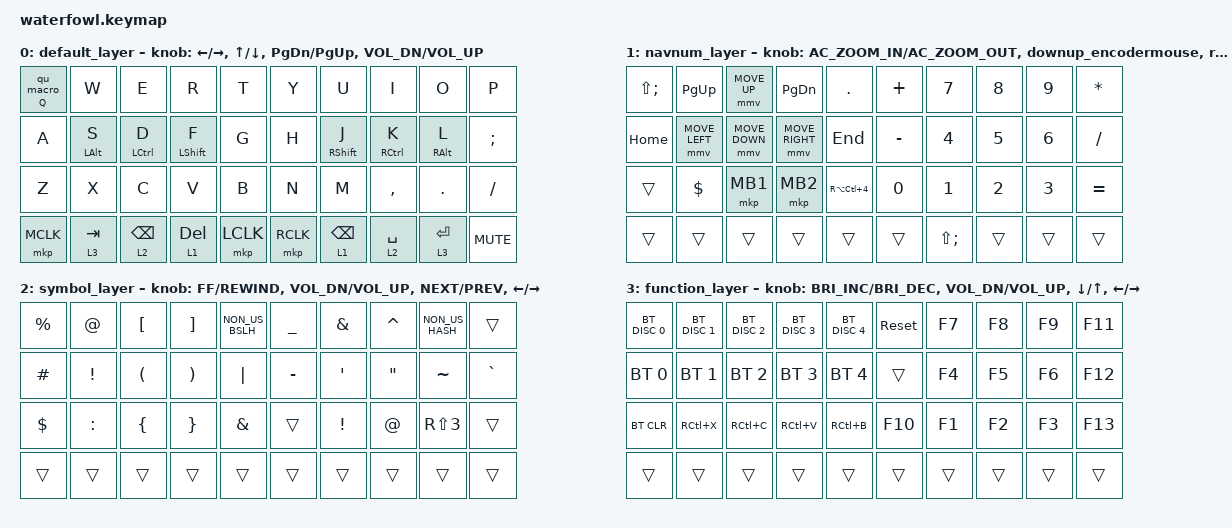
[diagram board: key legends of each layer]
/*
 * Copyright (c) 2022 The ZMK Contributors
 *
 * SPDX-License-Identifier: MIT
 */

#include <dt-bindings/zmk/mouse.h>
#include <behaviors.dtsi>
#include <dt-bindings/zmk/bt.h>
#include <dt-bindings/zmk/keys.h>
#include <dt-bindings/zmk/outputs.h>
#include <dt-bindings/zmk/pointing.h>

/ {
    behaviors {
        td_shift_caps: td_shift_caps {
            compatible = "zmk,behavior-tap-dance";
            label = "td_shift_caps";
            #binding-cells = <0>;
            bindings = <&kp RIGHT_SHIFT>, <&caps_word>;
        };

        better_cap_word: better_cap_word {
            compatible = "zmk,behavior-caps-word";
            label = "BETTER_CAP_WORD";
            #binding-cells = <0>;
            continue-list = <A B C D E F G H I J K L M N O P Q R S T U V W X Y Z KP_MINUS MINUS BACKSPACE DELETE LEFT_ARROW RIGHT_ARROW UP_ARROW DOWN_ARROW C_VOLUME_UP C_VOLUME_DOWN C_MUTE C_PREVIOUS C_NEXT C_PLAY_PAUSE>;
            mods = <(MOD_LSFT)>;
        };

        sticky_mod: sticky_mod {
            compatible = "zmk,behavior-sticky-key";
            label = "STICKY_MOD";
            bindings = <&kp>;
            #binding-cells = <1>;
            quick-release;
            release-after-ms = <1000>;
        };

        stickier_layer: stickier_layer {
            compatible = "zmk,behavior-sticky-key";
            label = "STICKIER_LAYER";
            bindings = <&mo>;
            #binding-cells = <1>;
            release-after-ms = <3000>;
            quick-release;
        };

        out_tg_or_usb: out_tg_or_usb {
            compatible = "zmk,behavior-mod-morph";
            label = "OUT_TG_OR_USB";
            bindings = <&out OUT_TOG>, <&out OUT_USB>;

            #binding-cells = <0>;
            mods = <(MOD_RSFT|MOD_LSFT)>;
        };

        bt_0_sel_or_unsel: bt_0_sel_or_unsel {
            compatible = "zmk,behavior-mod-morph";
            label = "BT_0_SEL_OR_UNSEL";
            bindings = <&bt BT_SEL 0>, <&shift_clear_bt0>;

            #binding-cells = <0>;
            mods = <(MOD_RSFT|MOD_LSFT)>;
        };

        bt_1_sel_or_unsel: bt_1_sel_or_unsel {
            compatible = "zmk,behavior-mod-morph";
            label = "BT_1_SEL_OR_UNSEL";
            bindings = <&bt BT_SEL 1>, <&shift_clear_bt1>;

            #binding-cells = <0>;
            mods = <(MOD_RSFT|MOD_LSFT)>;
        };

        bt_2_sel_or_unsel: bt_2_sel_or_unsel {
            compatible = "zmk,behavior-mod-morph";
            label = "BT_2_SEL_OR_UNSEL";
            bindings = <&bt BT_SEL 2>, <&shift_clear_bt2>;

            #binding-cells = <0>;
            mods = <(MOD_RSFT|MOD_LSFT)>;
        };

        bt_3_sel_or_unsel: bt_3_sel_or_unsel {
            compatible = "zmk,behavior-mod-morph";
            label = "BT_3_SEL_OR_UNSEL";
            bindings = <&bt BT_SEL 3>, <&shift_clear_bt3>;

            #binding-cells = <0>;
            mods = <(MOD_RSFT|MOD_LSFT)>;
        };

        bt_4_sel_or_unsel: bt_4_sel_or_unsel {
            compatible = "zmk,behavior-mod-morph";
            label = "BT_4_SEL_OR_UNSEL";
            bindings = <&bt BT_SEL 4>, <&shift_clear_bt4>;

            #binding-cells = <0>;
            mods = <(MOD_RSFT|MOD_LSFT)>;
        };

        auto_shift_num_row: auto_shift_num_row {
            compatible = "zmk,behavior-hold-tap";
            label = "AUTO_SHIFT_NUM_ROW";
            bindings = <&kp>, <&kp>;

            #binding-cells = <2>;
            flavor = "tap-preferred";
            tapping-term-ms = <500>;
            require-prior-idle-ms = <150>;
            quick-tap-ms = <100>;
        };

        home_row_mods_lh: home_row_mods_lh {
            compatible = "zmk,behavior-hold-tap";
            label = "HOME_ROW_MODS_LH";
            bindings = <&kp>, <&kp>;

            #binding-cells = <2>;
            tapping-term-ms = <275>;
            quick-tap-ms = <100>;
            flavor = "balanced";
            hold-trigger-key-positions = <6 18 43 55 44 7 19 45 57 59 46 58 47 8 9 48 49 35 56 5 6 7 8 9 15 16 17 18 19 25 26 27 28 29 37 38 39 36>;
            require-prior-idle-ms = <200>;
        };

        home_row_mods_rh: home_row_mods_rh {
            compatible = "zmk,behavior-hold-tap";
            label = "HOME_ROW_MODS_RH";
            bindings = <&kp>, <&kp>;

            #binding-cells = <2>;
            tapping-term-ms = <275>;
            quick-tap-ms = <100>;
            flavor = "balanced";
            hold-trigger-key-positions = <0 12 24 13 1 2 14 50 3 4 42 41 40 51 52 54 53 0 1 2 3 4 10 11 12 13 14 20 21 22 23 24 30 31 32 33 34>;
            require-prior-idle-ms = <200>;
        };

        thumb_cluster_lh: thumb_cluster_lh {
            compatible = "zmk,behavior-hold-tap";
            label = "THUMB_CLUSTER_LH";
            bindings = <&mo>, <&kp>;

            #binding-cells = <2>;
            tapping-term-ms = <275>;
            quick-tap-ms = <100>;
            flavor = "balanced";
            hold-trigger-key-positions = <55 43 56 44 30 18 6 7 19 31 57 45 58 46 32 20 8 9 21 33 47 59 48 34 22 10 11 23 35 49>;
        };

        thumb_cluster_rh: thumb_cluster_rh {
            compatible = "zmk,behavior-hold-tap";
            label = "THUMB_CLUSTER_RH";
            bindings = <&mo>, <&kp>;

            #binding-cells = <2>;
            tapping-term-ms = <275>;
            quick-tap-ms = <100>;
            flavor = "balanced";
            hold-trigger-key-positions = <36 54 0 12 24 37 25 13 1 3 2 14 26 38 50 51 39 27 15 28 16 4 40 52 53 41 29 17 5 42 49 35 23 59 58>;
        };

        thumb_cluster_nav: thumb_cluster_nav {
            compatible = "zmk,behavior-hold-tap";
            label = "THUMB_CLUSTER_NAV";
            bindings = <&mo>, <&kp>;

            #binding-cells = <2>;
            tapping-term-ms = <275>;
            quick-tap-ms = <100>;
            flavor = "balanced";
            hold-trigger-key-positions = <55 43 56 44 30 18 6 7 19 31 57 45 58 46 32 20 8 9 21 33 47 59 48 34 22 10 11 23 35 49 29 28 27 26 25>;
        };

        thumb_cluster_num: thumb_cluster_num {
            compatible = "zmk,behavior-hold-tap";
            label = "THUMB_CLUSTER_NUM";
            bindings = <&mo>, <&kp>;

            #binding-cells = <2>;
            tapping-term-ms = <275>;
            quick-tap-ms = <100>;
            flavor = "balanced";
            hold-trigger-key-positions = <36 54 0 12 24 37 25 13 1 3 2 14 26 38 50 51 39 27 15 28 16 4 40 52 53 41 29 17 5 42 18 18 19 20 21 32 30 31 33 34 22 44 45 46 47 48 49 35 23 59 58>;
        };

        home_row_mods_lh_shift: home_row_mods_lh_shift {
            compatible = "zmk,behavior-hold-tap";
            label = "HOME_ROW_MODS_LH_SHIFT";
            bindings = <&kp>, <&kp>;

            #binding-cells = <2>;
            tapping-term-ms = <275>;
            quick-tap-ms = <100>;
            flavor = "balanced";
            hold-trigger-key-positions = <43 55 44 45 57 59 46 58 47 48 49 56 5 6 7 8 9 15 16 17 18 19 25 26 27 28 29 35 36 37 38 39>;
        };

        home_row_mods_rh_shift: home_row_mods_rh_shift {
            compatible = "zmk,behavior-hold-tap";
            label = "HOME_ROW_MODS_RH_SHIFT";
            bindings = <&kp>, <&kp>;

            #binding-cells = <2>;
            tapping-term-ms = <275>;
            quick-tap-ms = <100>;
            flavor = "balanced";
            hold-trigger-key-positions = <12 24 13 1 2 14 50 3 4 42 41 40 51 52 54 53 0 1 2 3 4 10 11 12 13 14 20 21 22 23 24 30 31 32 33 34>;
        };

        tap_dance_l_shift_capwords: tap_dance_l_shift_capwords {
            compatible = "zmk,behavior-tap-dance";
            label = "TAP_DANCE_L_SHIFT_CAPWORDS";
            #binding-cells = <0>;
            bindings =
                <&kp LEFT_SHIFT>,
                <&sticky_mod LEFT_SHIFT>,
                <&better_cap_word>;
        };

        tap_dance_sticky_l_ctrl: tap_dance_sticky_l_ctrl {
            compatible = "zmk,behavior-tap-dance";
            label = "TAP_DANCE_STICKY_L_CTRL";
            #binding-cells = <0>;
            bindings = <&kp LEFT_CONTROL>, <&sticky_mod LEFT_CONTROL>;
        };

        tap_dance_sticky_l_alt: tap_dance_sticky_l_alt {
            compatible = "zmk,behavior-tap-dance";
            label = "TAP_DANCE_STICKY_L_ALT";
            #binding-cells = <0>;
            bindings = <&kp LEFT_ALT>, <&sticky_mod LEFT_ALT>;
        };

        layer_num_switch_tap_dance: layer_num_switch_tap_dance {
            compatible = "zmk,behavior-tap-dance";
            label = "LAYER_NUM_SWITCH_TAP_DANCE";
            #binding-cells = <0>;
            bindings = <&mo 0>, <&stickier_layer 0>, <&tog 0>;
        };

        layer_nav_switch_tap_dance: layer_nav_switch_tap_dance {
            compatible = "zmk,behavior-tap-dance";
            label = "LAYER_NAV_SWITCH_TAP_DANCE";
            #binding-cells = <0>;
            bindings = <&mo 0>, <&stickier_layer 0>, <&tog 0>;
        };

        auto_shift_bottom_right: auto_shift_bottom_right {
            compatible = "zmk,behavior-hold-tap";
            label = "AUTO_SHIFT_BOTTOM_RIGHT";
            bindings = <&kp>, <&kp>;

            #binding-cells = <2>;
            flavor = "tap-preferred";
            tapping-term-ms = <500>;
            require-prior-idle-ms = <150>;
            quick-tap-ms = <100>;
        };

        layer_sel_lh: layer_sel_lh {
            compatible = "zmk,behavior-tap-dance";
            label = "LAYER_SEL_LH";
            #binding-cells = <0>;
            bindings = <&mo 0>, <&mo 0>, <&mo 0>, <&tog 0>;
        };

        left_thumb_gui: left_thumb_gui {
            compatible = "zmk,behavior-tap-dance";
            label = "LEFT_THUMB_GUI";
            #binding-cells = <0>;
            bindings = <&mo 0>, <&kp LEFT_GUI>;
        };

        num_layer_dot: num_layer_dot {
            compatible = "zmk,behavior-mod-morph";
            label = "NUM_LAYER_DOT";
            bindings = <&kp DOT>, <&kp LEFT_PARENTHESIS>;

            #binding-cells = <0>;
            mods = <(MOD_LSFT|MOD_RSFT)>;
            keep-mods = <(MOD_LSFT|MOD_RSFT)>;
        };

        media_or_config_layer: media_or_config_layer {
            compatible = "zmk,behavior-tap-dance";
            label = "MEDIA_OR_CONFIG_LAYER";
            #binding-cells = <0>;
            bindings = <&mo 0>, <&mo 4>;
        };

        mac_like_backspace: mac_like_backspace {
            compatible = "zmk,behavior-mod-morph";
            label = "MAC_LIKE_BACKSPACE";
            bindings = <&kp BACKSPACE>, <&kp DELETE>;

            #binding-cells = <0>;
            mods = <(MOD_LSFT|MOD_RSFT)>;
        };

        thumb_th: thumb_th {
            compatible = "zmk,behavior-hold-tap";
            label = "THUMB_TH";
            bindings = <&mo>, <&kp>;

            #binding-cells = <2>;
            tapping-term-ms = <275>;
        };

        numpad_switch: numpad_switch {
            compatible = "zmk,behavior-tap-dance";
            label = "NUMPAD_SWITCH";
            #binding-cells = <0>;
            bindings = <&kp KP_NUMLOCK>, <&none>, <&stickier_layer 4>;
        };

        osl_or_hold_layer: osl_or_hold_layer {
            compatible = "zmk,behavior-hold-tap";
            label = "OSL_OR_HOLD_LAYER";
            bindings = <&mo>, <&stickier_layer>;

            #binding-cells = <2>;
            tapping-term-ms = <275>;
        };

        tap_dance_r_shift: tap_dance_r_shift {
            compatible = "zmk,behavior-tap-dance";
            label = "TAP_DANCE_R_SHIFT";
            #binding-cells = <0>;
            bindings =
                <&kp RIGHT_SHIFT>,
                <&sticky_mod RIGHT_SHIFT>,
                <&better_cap_word>;
        };

        qu_behavior: qu_behavior {
            compatible = "zmk,behavior-hold-tap";
            label = "QU_BEHAVIOR";
            bindings = <&kp>, <&qu_macro>;

            #binding-cells = <2>;
            tapping-term-ms = <200>;
            flavor = "tap-preferred";
        };

        encoder_mouse: encoder_mouse {
            compatible = "zmk,behavior-sensor-rotate-var";
            label = "ENCODER_MOUSE";
            #sensor-binding-cells = <2>;
            bindings = <&mmv>, <&mmv>;

            tap-ms = <50>;
        };

        downup_encodermouse: downup_encodermouse {
            compatible = "zmk,behavior-sensor-rotate";
            label = "DOWNUP_ENCODERMOUSE";
            #sensor-binding-cells = <0>;
            bindings = <&mmv MOVE_DOWN>, <&mmv MOVE_UP>;
        };

        rightleft_encodermouse: rightleft_encodermouse {
            compatible = "zmk,behavior-sensor-rotate";
            label = "RIGHTLEFT_ENCODERMOUSE";
            #sensor-binding-cells = <0>;
            bindings = <&mmv MOVE_RIGHT>, <&mmv MOVE_LEFT>;
        };
    };

    macros {
        shift_clear_bt0: shift_clear_bt0 {
            compatible = "zmk,behavior-macro";
            #binding-cells = <0>;
            bindings = <&bt BT_SEL 0 &bt BT_CLR>;
            label = "SHIFT_CLEAR_BT0";
        };

        shift_clear_bt1: shift_clear_bt1 {
            compatible = "zmk,behavior-macro";
            #binding-cells = <0>;
            bindings = <&bt BT_SEL 1 &bt BT_CLR>;
            label = "SHIFT_CLEAR_BT1";
        };

        shift_clear_bt2: shift_clear_bt2 {
            compatible = "zmk,behavior-macro";
            #binding-cells = <0>;
            bindings = <&bt BT_SEL 2 &bt BT_CLR>;
            label = "SHIFT_CLEAR_BT2";
        };

        shift_clear_bt3: shift_clear_bt3 {
            compatible = "zmk,behavior-macro";
            #binding-cells = <0>;
            bindings = <&bt BT_SEL 3 &bt BT_CLR>;
            label = "SHIFT_CLEAR_BT3";
        };

        shift_clear_bt4: shift_clear_bt4 {
            compatible = "zmk,behavior-macro";
            #binding-cells = <0>;
            bindings = <&bt BT_SEL 4 &bt BT_CLR>;
            label = "SHIFT_CLEAR_BT4";
        };

        edit_hotkey: edit_hotkey {
            compatible = "zmk,behavior-macro-two-param";
            #binding-cells = <2>;
            bindings =
                <&macro_press>,
                <&macro_param_1to1 &kp MACRO_PLACEHOLDER>,
                <&macro_tap>,
                <&macro_param_2to1 &kp MACRO_PLACEHOLDER>,
                <&macro_release>,
                <&macro_param_1to1 &kp MACRO_PLACEHOLDER>;

            label = "EDIT_HOTKEY";
        };

        mods_combo_2_keys: mods_combo_2_keys {
            compatible = "zmk,behavior-macro-two-param";
            #binding-cells = <2>;
            bindings =
                <&macro_press>,
                <&macro_param_1to1 &kp MACRO_PLACEHOLDER &macro_param_2to1 &kp MACRO_PLACEHOLDER>,
                <&macro_pause_for_release>,
                <&macro_release>,
                <&macro_param_2to1 &kp MACRO_PLACEHOLDER &macro_param_1to1 &kp MACRO_PLACEHOLDER>;

            label = "MODS_COMBO_2_KEYS";
        };

        qu_macro: qu_macro {
            compatible = "zmk,behavior-macro";
            #binding-cells = <0>;
            bindings = <&macro_tap>, <&kp Q &kp U>;

            label = "QU_MACRO";
            wait-ms = <33>;
            tap-ms = <33>;
        };

        n_t: n_t {
            compatible = "zmk,behavior-macro";
            #binding-cells = <0>;
            bindings = <&macro_tap>, <&kp N &kp SQT &kp T>;

            label = "N_T";
            wait-ms = <33>;
            tap-ms = <33>;
        };

        i_m: i_m {
            compatible = "zmk,behavior-macro";
            #binding-cells = <0>;
            bindings = <&macro_tap>, <&kp LS(I) &kp SQT &kp M>;

            label = "I_M";
        };
    };

    combos {
        compatible = "zmk,combos";

        n_t_combo {
            bindings = <&n_t>;
            key-positions = <25 4>;
        };

        layer-1-toggle {
            bindings = <&tog 1>;
            key-positions = <33 36>;
        };

        layer-2-toggle {
            bindings = <&tog 2>;
            key-positions = <37 32>;
        };

        layer-3-toggle {
            bindings = <&tog 3>;
            key-positions = <31 38>;
        };

        i-m {
            bindings = <&i_m>;
            key-positions = <26 7>;
        };

        right_tap_dance_shift {
            bindings = <&better_cap_word>;
            key-positions = <6 8>;
        };

        apostrophe {
            bindings = <&kp SQT>;
            key-positions = <26 27>;
        };

        Backspace {
            bindings = <&kp BACKSPACE>;
            key-positions = <32 31>;
        };
    };

    keymap {
        compatible = "zmk,keymap";

        default_layer {
            /* QWERTY
 *
 * ,----------------------------------.                      ,----------------------------------.
 * |   Q  |   W  |   E  |   R  |   T  |                      |   Y  |   U  |   I  |   O  |   P  |
 * |------+------+------+------+------|                      |------+------+------+------+------|
 * |   A  |   S  |   D  |   F  |   G  |                      |   H  |   J  |   K  |   L  |   ;  |
 * |------+------+------+------+------|  ,-----.    ,-----.  |------+------+------+------+------|
 * |   Z  |   X  |   C  |   V  |   B  |  |  2  |    |  3  |  |   N  |   M  |   ,  |   .  |   /  |
 * `----------------------------------'  `-----'    `-----'  `----------------------------------'
 *          ,-----.   ,--------------------.            ,--------------------.   ,-----.
 *          |  1  |   | DEL | SPACE | TAB  |            |  ESC  | BS | ENTER |   |  4  |
 *          `-----'   `--------------------'            `--------------------'   `-----'
 */

            bindings = <
&qu_behavior Q 0  &kp W                     &kp E                      &kp R                            &kp T        &kp Y      &kp U                                  &kp I                              &kp O                          &kp P
&kp A             &home_row_mods_lh LALT S  &home_row_mods_lh LCTRL D  &home_row_mods_lh_shift LSHFT F  &kp G        &kp H      &home_row_mods_rh_shift RIGHT_SHIFT J  &home_row_mods_rh RIGHT_CONTROL K  &home_row_mods_rh RIGHT_ALT L  &kp SEMICOLON
&kp Z             &kp X                     &kp C                      &kp V                            &kp B        &kp N      &kp M                                  &kp COMMA                          &kp DOT                        &kp FSLH
&mkp MCLK         &lt 3 TAB                 &lt 2 BACKSPACE            &lt 1 DELETE                     &mkp LCLK    &mkp RCLK  &lt 1 BACKSPACE                        &lt 2 SPACE                        &lt 3 RET                      &kp K_MUTE
            >;

            sensor-bindings =
                <&inc_dec_kp LEFT_ARROW RIGHT_ARROW>,
                <&inc_dec_kp UP_ARROW DOWN_ARROW>,
                <&inc_dec_kp PAGE_DOWN PAGE_UP>,
                <&inc_dec_kp C_VOL_DN C_VOL_UP>;
        };

        navnum_layer {
            /* NAVNUM
 *
 * ,----------------------------------.                      ,----------------------------------.
 * |      | PgUp |  UP  | PgDn |      |                      |   /  |   7  |   8  |   9  |   -  |
 * |------+------+------+------+------|                      |------+------+------+------+------|
 * | Home | Left | Down | Right| End  |                      |   =  |   4  |   5  |   6  |   +  |
 * |------+------+------+------+------|  ,-----.    ,-----.  |------+------+------+------+------|
 * |      |      |  INS |      |      |  |  2  |    |  3  |  |   0  |   1  |   2  |   3  |   *  |
 * `----------------------------------'  `-----'    `-----'  `----------------------------------'
 *          ,-----.   ,--------------------.            ,--------------------.   ,-----.
 *          |  1  |   | DEL | SPACE | MO(3)|            |  ESC  | BS | ENTER |   |  4  |
 *          `-----'   `--------------------'            `--------------------'   `-----'
 */

            bindings = <
&kp LS(SEMICOLON)  &kp PG_UP       &mmv MOVE_UP    &kp PG_DN        &kp PERIOD              &kp PLUS   &kp N7             &kp N8  &kp N9  &kp ASTERISK
&kp HOME           &mmv MOVE_LEFT  &mmv MOVE_DOWN  &mmv MOVE_RIGHT  &kp END                 &kp MINUS  &kp N4             &kp N5  &kp N6  &kp FSLH
&trans             &kp DOLLAR      &mkp MB1        &mkp MB2         &kp RA(LC(NUMBER_4))    &kp N0     &kp N1             &kp N2  &kp N3  &kp EQUAL
&trans             &trans          &trans          &trans           &trans                  &trans     &kp LS(SEMICOLON)  &trans  &trans  &trans
            >;

            sensor-bindings =
                <&inc_dec_kp C_AC_ZOOM_IN C_AC_ZOOM_OUT>,
                <&downup_encodermouse>,
                <&rightleft_encodermouse>,
                <&inc_dec_kp K_NEXT K_PREVIOUS>;
        };

        symbol_layer {
            /* SYM
 *
 * ,----------------------------------.                      ,----------------------------------.
 * |   %  |   @  |   [  |   ]  |   \  |                      |      |      |   ^  |      |      |
 * |------+------+------+------+------|                      |------+------+------+------+------|
 * |   #  |   !  |   (  |   )  |   |  |                      |   _  |   '  |   "  |   ~  |   `  |
 * |------+------+------+------+------|  ,-----.    ,-----.  |------+------+------+------+------|
 * |   $  |      |   {  |   }  |   &  |  |  2  |    |  3  |  |      |      |      |      |      |
 * `----------------------------------'  `-----'    `-----'  `----------------------------------'
 *          ,-----.   ,--------------------.            ,--------------------.   ,-----.
 *          |  1  |   | DEL | SPACE | TAB  |            |  ESC  | BS | ENTER |   |  4  |
 *          `-----'   `--------------------'            `--------------------'   `-----'
 */

            bindings = <
&kp PRCNT  &kp AT     &kp LBKT  &kp RBKT  &kp NON_US_BSLH    &kp UNDERSCORE  &kp AMPERSAND    &kp CARET          &kp NON_US_HASH   &trans
&kp HASH   &kp EXCL   &kp LPAR  &kp RPAR  &kp PIPE           &kp MINUS       &kp APOS         &kp DOUBLE_QUOTES  &kp TILDE         &kp GRAVE
&kp DLLR   &kp COLON  &kp LBRC  &kp RBRC  &kp AMPS           &trans          &kp EXCLAMATION  &kp AT_SIGN        &kp RS(NUMBER_3)  &trans
&trans     &trans     &trans    &trans    &trans             &trans          &trans           &trans             &trans            &trans
            >;

            sensor-bindings =
                <&inc_dec_kp C_FF C_REWIND>,
                <&inc_dec_kp C_VOL_DN C_VOL_UP>,
                <&inc_dec_kp C_NEXT C_PREV>,
                <&inc_dec_kp LEFT RIGHT>;
        };

        function_layer {
            /* FUNC
 *
 * ,----------------------------------.                      ,----------------------------------.
 * |      |      | BTCLR|      | Reset|                      | Reset|  F7  |  F8  |  F9  |  F11 |
 * |------+------+------+------+------|                      |------+------+------+------+------|
 * |  BT0 |  BT1 |  BT2 |  BT3 |  BT4 |                      |      |  F4  |  F5  |  F6  |  F12 |
 * |------+------+------+------+------|  ,-----.    ,-----.  |------+------+------+------+------|
 * |      |      |      |      |      |  |  2  |    |  3  |  |  F10 |  F1  |  F2  |  F3  |  F13 |
 * `----------------------------------'  `-----'    `-----'  `----------------------------------'
 *          ,-----.   ,--------------------.            ,--------------------.   ,-----.
 *          |  1  |   | DEL | SPACE | TAB  |            |  ESC  | BS | ENTER |   |  4  |
 *          `-----'   `--------------------'            `--------------------'   `-----'
 */

            bindings = <
&bt BT_DISC 0  &bt BT_DISC 1  &bt BT_DISC 2  &bt BT_DISC 3  &bt BT_DISC 4    &sys_reset  &kp F7  &kp F8  &kp F9  &kp F11
&bt BT_SEL 0   &bt BT_SEL 1   &bt BT_SEL 2   &bt BT_SEL 3   &bt BT_SEL 4     &trans      &kp F4  &kp F5  &kp F6  &kp F12
&bt BT_CLR     &kp RC(X)      &kp RC(C)      &kp RC(V)      &kp RC(B)        &kp F10     &kp F1  &kp F2  &kp F3  &kp F13
&trans         &trans         &trans         &trans         &trans           &trans      &trans  &trans  &trans  &trans
            >;

            sensor-bindings =
                <&inc_dec_kp C_BRIGHTNESS_INC C_BRIGHTNESS_DEC>,
                <&inc_dec_kp C_VOL_DN C_VOL_UP>,
                <&inc_dec_kp DOWN UP>,
                <&inc_dec_kp LEFT RIGHT>;
        };
    };

    conditional_layers { compatible = "zmk,conditional-layers"; };
};
